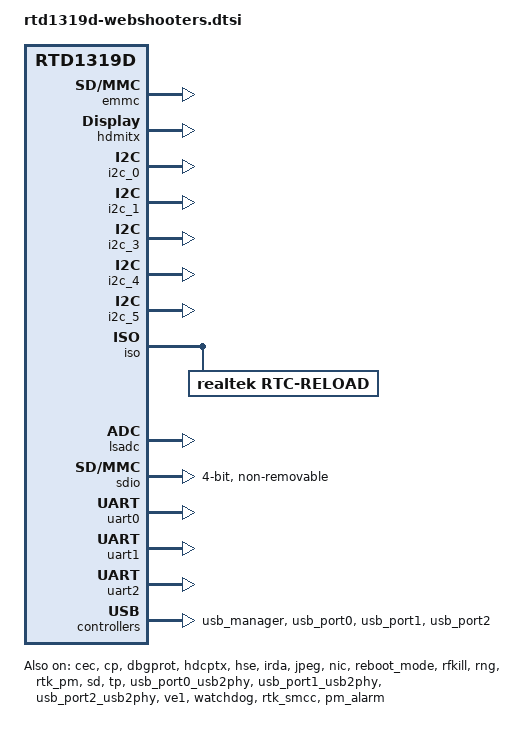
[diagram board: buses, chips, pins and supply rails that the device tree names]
// SPDX-License-Identifier: (GPL-2.0-or-later OR BSD-2-Clause)
/*
 * Copyright (c) 2022 Realtek Semiconductor Corp.
 */

/dts-v1/;

#include <dt-bindings/regulator/anpec,apw888x.h>
#include <dt-bindings/soc/realtek,pm.h>
#include <dt-bindings/thermal/thermal.h>
#include "rtd13xxd.dtsi"

/ {
	chosen {
		stdout-path = "serial0:460800n8";
		bootargs = "earlycon=uart8250,mmio32,0x98007800 console=ttyS0,460800 init=/init loop.max_part=7 androidboot.storage=emmc androidboot.hardware=parker loglevel=4 NO_RESERVE";
	};

	aliases {
	};
};


&audio_in_i2s {
	pinctrl-names = "default";
	pinctrl-0 = <&ai_loc0_6pins>;
	status = "disabled";
};

&audio_out {
	pinctrl-names = "default";
	pinctrl-0 = <&spdif_pins>;
	audio-gpios = <&gpio 47 GPIO_ACTIVE_HIGH>;
	status = "okay";
};

&cec {
	status = "okay";
};

&cp {
	status = "okay";
};

&cpu_tm {
	status = "okay";
};

&dbgprot {
	status = "okay";
};

&emmc {
	status = "okay";
};

&gpio {
	status = "okay";
};

&hdcptx {
	status = "okay";
};

&hdmitx {
	status = "okay";
};

&hse {
	status = "okay";
};

&i2c_0 {
	status = "okay";
};

&i2c_1 {
	status = "okay";
};

&i2c_3 {
	status = "okay";
};

&i2c_4 {
	status = "okay";
};

&i2c_5 {
	status = "okay";
};

&irda {
	wakeup-key = <116>,<148>;
	status = "okay";
};

&iso {
	rtc-reload@64c {
		compatible = "realtek,rtc-reload";
		reg = <0x64c 0x4>;
		status = "okay";
	};
};

&jpeg {
	status = "okay";
};

&nic {
	status = "okay";
};

&pwm {
	status = "disabled";
};

&reboot_mode {
	status = "okay";
};

&rfkill {
	rfkill-gpios = <&gpio 6 GPIO_ACTIVE_HIGH>;
	status = "okay";
};

&lsadc {
	status = "okay";
};

&rng {
	status = "okay";
};

&rtk_pm {
	wakeup-flags = <NORMAL_MODE>;
	wakeup-gpio-list = <78 GPIO_WAKEUP_ENABLE GPIO_WAKEUP_ACTIVE_LOW>,
			   <81 GPIO_WAKEUP_ENABLE GPIO_WAKEUP_ACTIVE_LOW>;
	wakeup-timer = <0>;
	dco = <DCO_DISABLE>;
	status = "okay";
};

&sd {
	status = "okay";
};

&sdio {
	bus-width = <4>;
	non-removable;
	cap-sd-highspeed;
	cap-mmc-highspeed;
	sd-uhs-sdr12;
	sd-uhs-sdr25;
	sd-uhs-sdr50;
	sd-uhs-sdr104;
	keep-power-in-suspend;
	enable-sdio-wakeup;
	no-sd;
	no-mmc;
	status = "okay";
};

&sound {
	status = "okay";
};

&tp {
	status = "okay";
};

&uart0 {
	status = "okay";
};

&uart1 {
	status = "okay";
};

&uart2 {
	status = "okay";
};

&usb_manager {
	status = "okay";

	/* port0 & port1 */
	gpio0 {
		realtek,power-gpio = <&gpio 48 GPIO_ACTIVE_HIGH>;
		power_low_active;
	};

	/* port2 */
	gpio1 {
		realtek,power-gpio = <&gpio 49 GPIO_ACTIVE_HIGH>;
		power_low_active;
	};

	port2 {
		disable_usb3;
	};
};

&usb_port0_usb2phy {
	status = "okay";
};

&usb_port0 {
	status = "okay";
};

&usb_port1_usb2phy {
	status = "okay";
};

&usb_port1 {
	status = "okay";
};

&usb_port2_usb2phy {
	status = "okay";
};

&usb_port2 {
	status = "okay";
	disable_usb3;

	dwc3_u3host@50000 {
		snps,dev_force_20_clk_for_30_clk;
		maximum-speed = "high-speed";
	};
};

&ve1 {
	status = "okay";
};

&watchdog {
	status = "okay";
};

&rtk_smcc {
	status = "okay";
};

&pm_alarm {
	status = "okay";
};
